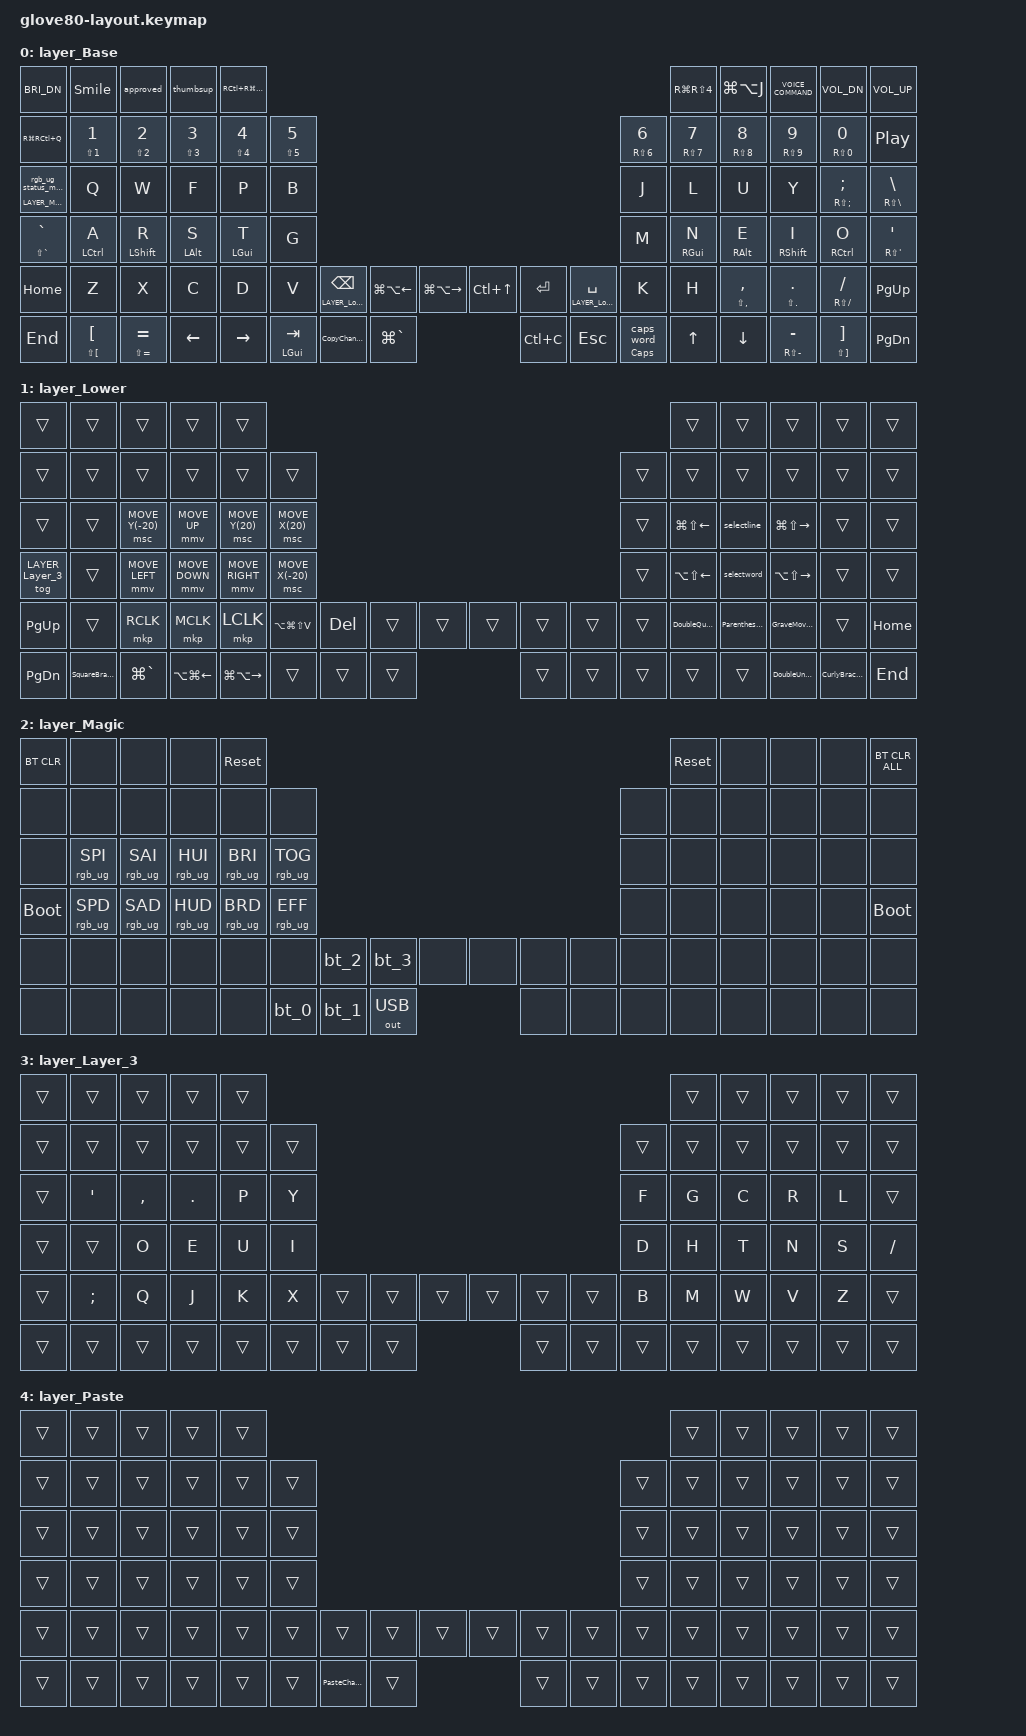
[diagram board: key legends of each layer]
/*
 * Copyright (c) 2020 The ZMK Contributors
 * Copyright (c) 2025 Innaworks Development Limited, trading as MoErgo
 *
 * SPDX-License-Identifier: MIT
 */


/* THIS FILE WAS GENERATED BY GLOVE80 LAYOUT EDITOR
 *
 * This file was generated automatically. You may or may not want to
 * edit it directly.
 */

#include <behaviors.dtsi>
/* Include all behavior includes needed */
#include <dt-bindings/zmk/outputs.h>
#include <dt-bindings/zmk/keys.h>
#include <dt-bindings/zmk/bt.h>
#include <dt-bindings/zmk/rgb.h>

/* On demand includes */
#include <dt-bindings/zmk/pointing.h>

/* Helper Macros, based on https://github.com/urob/zmk-helpers/ */

#pragma once

#define ZMK_HELPER_STRINGIFY(x) #x

// Preprocessor mechanism to overload macros, cf. https://stackoverflow.com/a/27051616/6114651
#define VARGS_(_10, _9, _8, _7, _6, _5, _4, _3, _2, _1, N, ...) N
#define VARGS(...) VARGS_(__VA_ARGS__, 10, 9, 8, 7, 6, 5, 4, 3, 2, 1, 0)
#define CONCAT_(a, b) a##b
#define CONCAT(a, b) CONCAT_(a, b)

#define ZMK_BEHAVIOR_CORE_tap_dance  \
    compatible = "zmk,behavior-tap-dance"; \
    #binding-cells = <0>

#define ZMK_BEHAVIOR(name, type, ...) \
    name: name { \
        ZMK_BEHAVIOR_CORE_ ## type; \
        __VA_ARGS__ \
    };

#define ZMK_TAP_DANCE(name, ...) \
    ZMK_BEHAVIOR(name, tap_dance, __VA_ARGS__)

#define ZMK_TD_LAYER(name, layer) \
    ZMK_TAP_DANCE(name, \
        tapping-term-ms = <200>; \
        bindings = <&mo layer>, <&to layer>; \
)

/* Environment and metadata defines */
#define KB_TYPE_GLOVE_80 1
#define KB_TYPE_GO_60    2

#define KB_TYPE          KB_TYPE_GLOVE_80
#define EDITOR_HOST_OS   'M'

/* Automatically generated layer name defines */
#define LAYER_Base 0
#define LAYER_Lower 1
#define LAYER_Magic 2
#define LAYER_Layer_3 3
#define LAYER_Paste 4

/* To deal with the situation where there is no Lower layer, to keep &lower happy */
#ifndef LAYER_Lower
#define LAYER_Lower 0
#endif

/* Custom Device-tree */


/* Input Listeners */


/* System behavior and Macros */
/ {
    behaviors {
        ZMK_TD_LAYER(lower, LAYER_Lower)
    };
};

/ {
    macros {
        rgb_ug_status_macro: rgb_ug_status_macro {
            label = "RGB_UG_STATUS";
            compatible = "zmk,behavior-macro";
            #binding-cells = <0>;
            bindings
                = <&rgb_ug RGB_STATUS>;
        };
    };
};


/ {
#ifdef BT_DISC_CMD
    behaviors {
        bt_0: bt_0 {
            compatible = "zmk,behavior-tap-dance";
            label = "BT_0";
            #binding-cells = <0>;
            tapping-term-ms = <200>;
            bindings = <&bt_select_0>, <&bt BT_DISC 0>;
        };
        bt_1: bt_1 {
            compatible = "zmk,behavior-tap-dance";
            label = "BT_1";
            #binding-cells = <0>;
            tapping-term-ms = <200>;
            bindings = <&bt_select_1>, <&bt BT_DISC 1>;
        };
        bt_2: bt_2 {
            compatible = "zmk,behavior-tap-dance";
            label = "BT_2";
            #binding-cells = <0>;
            tapping-term-ms = <200>;
            bindings = <&bt_select_2>, <&bt BT_DISC 2>;
        };
        bt_3: bt_3 {
            compatible = "zmk,behavior-tap-dance";
            label = "BT_3";
            #binding-cells = <0>;
            tapping-term-ms = <200>;
            bindings = <&bt_select_3>, <&bt BT_DISC 3>;
        };
    };
    macros {
        bt_select_0: bt_select_0 {
            label = "BT_SELECT_0";
            compatible = "zmk,behavior-macro";
            #binding-cells = <0>;
            bindings
                = <&out OUT_BLE>,
                  <&bt BT_SEL 0>;
        };
        bt_select_1: bt_select_1 {
            label = "BT_SELECT_1";
            compatible = "zmk,behavior-macro";
            #binding-cells = <0>;
            bindings
                = <&out OUT_BLE>,
                  <&bt BT_SEL 1>;
        };
        bt_select_2: bt_select_2 {
            label = "BT_SELECT_2";
            compatible = "zmk,behavior-macro";
            #binding-cells = <0>;
            bindings
                = <&out OUT_BLE>,
                  <&bt BT_SEL 2>;
        };
        bt_select_3: bt_select_3 {
            label = "BT_SELECT_3";
            compatible = "zmk,behavior-macro";
            #binding-cells = <0>;
            bindings
                = <&out OUT_BLE>,
                  <&bt BT_SEL 3>;
        };
    };
#else
    macros {
        bt_0: bt_0 {
            label = "BT_0";
            compatible = "zmk,behavior-macro";
            #binding-cells = <0>;
            bindings
                = <&out OUT_BLE>,
                  <&bt BT_SEL 0>;
        };
        bt_1: bt_1 {
            label = "BT_1";
            compatible = "zmk,behavior-macro";
            #binding-cells = <0>;
            bindings
                = <&out OUT_BLE>,
                  <&bt BT_SEL 1>;
        };
        bt_2: bt_2 {
            label = "BT_2";
            compatible = "zmk,behavior-macro";
            #binding-cells = <0>;
            bindings
                = <&out OUT_BLE>,
                  <&bt BT_SEL 2>;
        };
        bt_3: bt_3 {
            label = "BT_3";
            compatible = "zmk,behavior-macro";
            #binding-cells = <0>;
            bindings
                = <&out OUT_BLE>,
                  <&bt BT_SEL 3>;
        };
    };
#endif
};

/ {
    behaviors {
        magic: magic {
            compatible = "zmk,behavior-hold-tap";
            label = "MAGIC_HOLD_TAP";
            #binding-cells = <2>;
            flavor = "tap-preferred";
            tapping-term-ms = <200>;
            bindings = <&mo>, <&rgb_ug_status_macro>;
        };
    };
};


/* Key positions */

#define POS_LH_C6R1 0
#define POS_LH_C5R1 1
#define POS_LH_C4R1 2
#define POS_LH_C3R1 3
#define POS_LH_C2R1 4
#define POS_RH_C2R1 5
#define POS_RH_C3R1 6
#define POS_RH_C4R1 7
#define POS_RH_C5R1 8
#define POS_RH_C6R1 9
#define POS_LH_C6R2 10
#define POS_LH_C5R2 11
#define POS_LH_C4R2 12
#define POS_LH_C3R2 13
#define POS_LH_C2R2 14
#define POS_LH_C1R2 15
#define POS_RH_C1R2 16
#define POS_RH_C2R2 17
#define POS_RH_C3R2 18
#define POS_RH_C4R2 19
#define POS_RH_C5R2 20
#define POS_RH_C6R2 21
#define POS_LH_C6R3 22
#define POS_LH_C5R3 23
#define POS_LH_C4R3 24
#define POS_LH_C3R3 25
#define POS_LH_C2R3 26
#define POS_LH_C1R3 27
#define POS_RH_C1R3 28
#define POS_RH_C2R3 29
#define POS_RH_C3R3 30
#define POS_RH_C4R3 31
#define POS_RH_C5R3 32
#define POS_RH_C6R3 33
#define POS_LH_C6R4 34
#define POS_LH_C5R4 35
#define POS_LH_C4R4 36
#define POS_LH_C3R4 37
#define POS_LH_C2R4 38
#define POS_LH_C1R4 39
#define POS_RH_C1R4 40
#define POS_RH_C2R4 41
#define POS_RH_C3R4 42
#define POS_RH_C4R4 43
#define POS_RH_C5R4 44
#define POS_RH_C6R4 45
#define POS_LH_C6R5 46
#define POS_LH_C5R5 47
#define POS_LH_C4R5 48
#define POS_LH_C3R5 49
#define POS_LH_C2R5 50
#define POS_LH_C1R5 51
#define POS_LH_T1 52
#define POS_LH_T2 53
#define POS_LH_T3 54
#define POS_RH_T3 55
#define POS_RH_T2 56
#define POS_RH_T1 57
#define POS_RH_C1R5 58
#define POS_RH_C2R5 59
#define POS_RH_C3R5 60
#define POS_RH_C4R5 61
#define POS_RH_C5R5 62
#define POS_RH_C6R5 63
#define POS_LH_C6R6 64
#define POS_LH_C5R6 65
#define POS_LH_C4R6 66
#define POS_LH_C3R6 67
#define POS_LH_C2R6 68
#define POS_LH_T4 69
#define POS_LH_T5 70
#define POS_LH_T6 71
#define POS_RH_T6 72
#define POS_RH_T5 73
#define POS_RH_T4 74
#define POS_RH_C2R6 75
#define POS_RH_C3R6 76
#define POS_RH_C4R6 77
#define POS_RH_C5R6 78
#define POS_RH_C6R6 79


/* Custom Defined Behaviors */
/ {

};

/* Generated input processors */


/* Automatically generated macro definitions */
/ {
    macros {

        Smile: Smile {
            label = "&SMILE";
            compatible = "zmk,behavior-macro";
            #binding-cells = <0>;
            bindings = <&kp RS(SEMI)>
                , <&kp RS(N0)>;
        };

        ParenthesisMoveLeft: ParenthesisMoveLeft {
            label = "&PARENTHESISMOVELEFT";
            compatible = "zmk,behavior-macro";
            #binding-cells = <0>;
            bindings = <&kp RS(N9)>
                , <&kp RS(N0)>
                , <&kp LEFT>;
        };

        GraveMoveLeft: GraveMoveLeft {
            label = "&GRAVEMOVELEFT";
            compatible = "zmk,behavior-macro";
            #binding-cells = <0>;
            bindings = <&kp GRAVE>
                , <&kp GRAVE>
                , <&kp LEFT>;
        };

        DoubleQuotesMoveLeft: DoubleQuotesMoveLeft {
            label = "&DOUBLEQUOTESMOVELEFT";
            compatible = "zmk,behavior-macro";
            #binding-cells = <0>;
            bindings = <&kp LS(SQT)>
                , <&kp LS(SQT)>
                , <&kp LEFT>;
        };

        thumbsup: thumbsup {
            label = "&THUMBSUP";
            compatible = "zmk,behavior-macro";
            #binding-cells = <0>;
            bindings = <&kp LS(SEMI)>
                , <&kp T>
                , <&kp H>
                , <&kp U>
                , <&kp M>
                , <&kp B>;
        };

        approved: approved {
            label = "&APPROVED";
            compatible = "zmk,behavior-macro";
            #binding-cells = <0>;
            bindings = <&kp RS(SEMI)>
                , <&kp A>
                , <&kp P>
                , <&kp P>
                , <&kp R>
                , <&kp O>
                , <&kp V>
                , <&kp E>
                , <&kp D>;
        };

        selectword: selectword {
            label = "&SELECTWORD";
            compatible = "zmk,behavior-macro";
            #binding-cells = <0>;
            bindings = <&kp RA(RIGHT)>
                , <&kp RA(RS(LEFT))>;
        };

        selectline: selectline {
            label = "&SELECTLINE";
            compatible = "zmk,behavior-macro";
            #binding-cells = <0>;
            bindings = <&kp RG(RIGHT)>
                , <&kp RG(RS(LEFT))>;
        };

        SquareBracketsMoveLeft: SquareBracketsMoveLeft {
            label = "&SQUAREBRACKETSMOVELEFT";
            compatible = "zmk,behavior-macro";
            #binding-cells = <0>;
            bindings = <&kp LBKT>
                , <&kp RBKT>
                , <&kp LEFT>;
        };

        CurlyBracesMoveLeft: CurlyBracesMoveLeft {
            label = "&CURLYBRACESMOVELEFT";
            compatible = "zmk,behavior-macro";
            #binding-cells = <0>;
            bindings = <&kp LS(LBKT)>
                , <&kp LS(RBKT)>
                , <&kp LEFT>;
        };

        DoubleUnderscore: DoubleUnderscore {
            label = "&DOUBLEUNDERSCORE";
            compatible = "zmk,behavior-macro";
            #binding-cells = <0>;
            bindings = <&kp LS(MINUS)>
                , <&kp LS(MINUS)>;
        };

        CopyChangeLayer: CopyChangeLayer {
            label = "&COPYCHANGELAYER";
            compatible = "zmk,behavior-macro";
            #binding-cells = <0>;
            bindings = <&kp LG(C)>
                , <&to LAYER_Paste>;
        };

        PasteChangeLayer: PasteChangeLayer {
            label = "&PASTECHANGELAYER";
            compatible = "zmk,behavior-macro";
            #binding-cells = <0>;
            bindings = <&kp LG(V)>
                , <&to LAYER_Base>;
        };
    };
};

/* Automatically generated behavior definitions */
/ {
    behaviors {


        kpholdtap: kpholdtap {
            compatible = "zmk,behavior-hold-tap";
            #binding-cells = <2>;
            tapping-term-ms = <200>;
            bindings = <&kp>, <&kp>;
            flavor = "balanced";
            quick-tap-ms = <200>;
            require-prior-idle-ms = <125>;
        };

        layerholdtap: layerholdtap {
            compatible = "zmk,behavior-hold-tap";
            #binding-cells = <2>;
            tapping-term-ms = <200>;
            bindings = <&mo>, <&kp>;
            flavor = "balanced";
            quick-tap-ms = <200>;
            require-prior-idle-ms = <125>;
        };

        tapcapsword: tapcapsword {
            compatible = "zmk,behavior-hold-tap";
            #binding-cells = <2>;
            tapping-term-ms = <200>;
            bindings = <&kp>, <&caps_word>;
        };
    };
};

/* Automatically generated combos definitions */


/* Automatically generated keymap */
/ {
    keymap {
        compatible = "zmk,keymap";


        layer_Base {
            bindings = <
               &kp C_BRI_DN                    &Smile                   &approved             &thumbsup    &kp RC(RG(RS(N4)))                                                                                                                                                                               &kp RG(RS(N4))               &kp LG(LA(J))         &kp C_VOICE_COMMAND              &kp C_VOL_DN              &kp C_VOL_UP
              &kp RG(RC(Q))      &kpholdtap LS(N1) N1        &kpholdtap LS(N2) N2  &kpholdtap LS(N3) N3  &kpholdtap LS(N4) N4  &kpholdtap LS(N5) N5                                                                                                                             &kpholdtap RS(N6) N6  &kpholdtap RS(N7) N7        &kpholdtap RS(N8) N8        &kpholdtap RS(N9) N9      &kpholdtap RS(N0) N0                  &kp C_PP
       &magic LAYER_Magic 0                     &kp Q                       &kp W                 &kp F                 &kp P                 &kp B                                                                                                                                            &kp J                 &kp L                       &kp U                       &kp Y  &kpholdtap RS(SEMI) SEMI  &kpholdtap RS(BSLH) BSLH
 &kpholdtap LS(GRAVE) GRAVE        &kpholdtap LCTRL A          &kpholdtap LSHFT R     &kpholdtap LALT S     &kpholdtap LGUI T                 &kp G                                                                                                                                            &kp M     &kpholdtap RGUI N           &kpholdtap RALT E          &kpholdtap RSHFT I        &kpholdtap RCTRL O    &kpholdtap RS(SQT) SQT
                   &kp HOME                     &kp Z                       &kp X                 &kp C                 &kp D                 &kp V  &layerholdtap LAYER_Lower BSPC  &kp LG(LA(LEFT))  &kp LG(LA(RIGHT))  &kp LC(UP)  &kp RET  &layerholdtap LAYER_Lower SPACE                 &kp K                 &kp H  &kpholdtap LS(COMMA) COMMA      &kpholdtap LS(DOT) DOT  &kpholdtap RS(FSLH) FSLH                 &kp PG_UP
                    &kp END  &kpholdtap LS(LBKT) LBKT  &kpholdtap LS(EQUAL) EQUAL              &kp LEFT             &kp RIGHT                                   &kpholdtap LGUI TAB  &CopyChangeLayer      &kp LG(GRAVE)   &kp LC(C)  &kp ESC              &tapcapsword CAPS 0                                      &kp UP                    &kp DOWN  &kpholdtap RS(MINUS) MINUS  &kpholdtap LS(RBKT) RBKT                 &kp PG_DN
            >;
        };

        layer_Lower {
            bindings = <
             &trans                   &trans            &trans            &trans             &trans                                                                                             &trans                &trans             &trans                &trans    &trans
             &trans                   &trans            &trans            &trans             &trans             &trans                                                   &trans                 &trans                &trans             &trans                &trans    &trans
             &trans                   &trans  &msc MOVE_Y(-20)      &mmv MOVE_UP    &msc MOVE_Y(20)    &msc MOVE_X(20)                                                   &trans       &kp LG(LS(LEFT))           &selectline  &kp LG(LS(RIGHT))                &trans    &trans
 &tog LAYER_Layer_3                   &trans    &mmv MOVE_LEFT    &mmv MOVE_DOWN    &mmv MOVE_RIGHT   &msc MOVE_X(-20)                                                   &trans       &kp LA(LS(LEFT))           &selectword  &kp LA(LS(RIGHT))                &trans    &trans
          &kp PG_UP                   &trans         &mkp RCLK         &mkp MCLK          &mkp LCLK  &kp LA(LG(LS(V)))  &kp DEL  &trans  &trans  &trans  &trans  &trans  &trans  &DoubleQuotesMoveLeft  &ParenthesisMoveLeft     &GraveMoveLeft                &trans  &kp HOME
          &kp PG_DN  &SquareBracketsMoveLeft     &kp LG(GRAVE)  &kp LA(LG(LEFT))  &kp LG(LA(RIGHT))                      &trans  &trans  &trans  &trans  &trans  &trans                         &trans                &trans  &DoubleUnderscore  &CurlyBracesMoveLeft   &kp END
            >;
        };

        layer_Magic {
            bindings = <
  &bt BT_CLR            &none            &none            &none       &sys_reset                                                                                 &sys_reset   &none   &none   &none  &bt BT_CLR_ALL
       &none            &none            &none            &none            &none            &none                                                         &none       &none   &none   &none   &none           &none
       &none  &rgb_ug RGB_SPI  &rgb_ug RGB_SAI  &rgb_ug RGB_HUI  &rgb_ug RGB_BRI  &rgb_ug RGB_TOG                                                         &none       &none   &none   &none   &none           &none
 &bootloader  &rgb_ug RGB_SPD  &rgb_ug RGB_SAD  &rgb_ug RGB_HUD  &rgb_ug RGB_BRD  &rgb_ug RGB_EFF                                                         &none       &none   &none   &none   &none     &bootloader
       &none            &none            &none            &none            &none            &none   &bt_2   &bt_3         &none   &none   &none   &none   &none       &none   &none   &none   &none           &none
       &none            &none            &none            &none            &none                    &bt_0   &bt_1  &out OUT_USB   &none   &none   &none               &none   &none   &none   &none           &none
            >;
        };

        layer_Layer_3 {
            bindings = <
 &trans    &trans     &trans   &trans  &trans                                                                  &trans  &trans  &trans  &trans    &trans
 &trans    &trans     &trans   &trans  &trans  &trans                                                  &trans  &trans  &trans  &trans  &trans    &trans
 &trans   &kp SQT  &kp COMMA  &kp DOT   &kp P   &kp Y                                                   &kp F   &kp G   &kp C   &kp R   &kp L    &trans
 &trans    &trans      &kp O    &kp E   &kp U   &kp I                                                   &kp D   &kp H   &kp T   &kp N   &kp S  &kp FSLH
 &trans  &kp SEMI      &kp Q    &kp J   &kp K   &kp X  &trans  &trans  &trans  &trans  &trans  &trans   &kp B   &kp M   &kp W   &kp V   &kp Z    &trans
 &trans    &trans     &trans   &trans  &trans          &trans  &trans  &trans  &trans  &trans  &trans          &trans  &trans  &trans  &trans    &trans
            >;
        };

        layer_Paste {
            bindings = <
 &trans  &trans  &trans  &trans  &trans                                                                             &trans  &trans  &trans  &trans  &trans
 &trans  &trans  &trans  &trans  &trans  &trans                                                             &trans  &trans  &trans  &trans  &trans  &trans
 &trans  &trans  &trans  &trans  &trans  &trans                                                             &trans  &trans  &trans  &trans  &trans  &trans
 &trans  &trans  &trans  &trans  &trans  &trans                                                             &trans  &trans  &trans  &trans  &trans  &trans
 &trans  &trans  &trans  &trans  &trans  &trans  &trans             &trans  &trans  &trans  &trans  &trans  &trans  &trans  &trans  &trans  &trans  &trans
 &trans  &trans  &trans  &trans  &trans          &trans  &PasteChangeLayer  &trans  &trans  &trans  &trans          &trans  &trans  &trans  &trans  &trans
            >;
        };

    };
};
